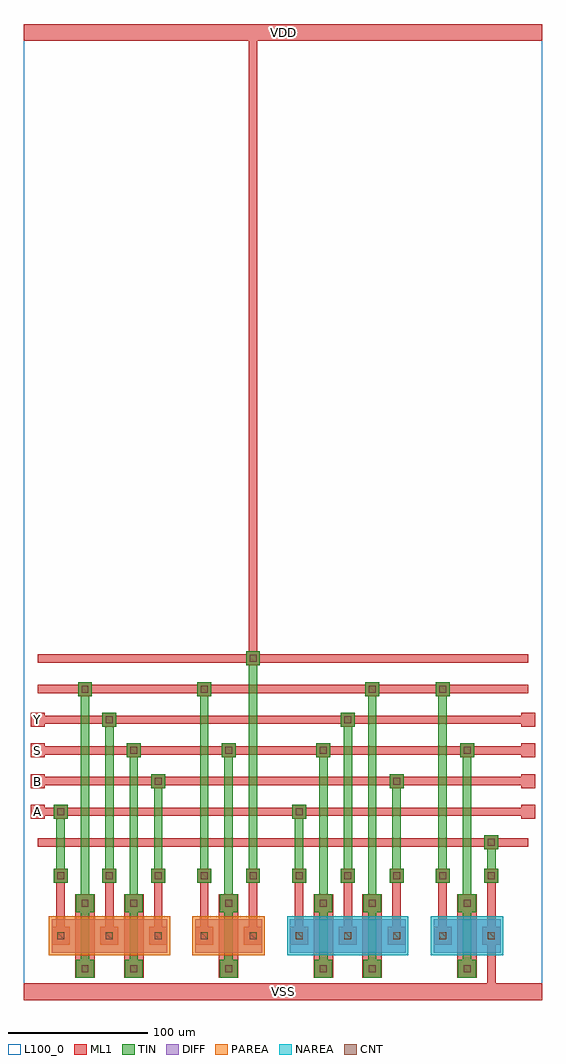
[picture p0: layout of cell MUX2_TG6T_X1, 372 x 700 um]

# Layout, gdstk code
import gdstk
lib = gdstk.Library(unit=1e-6, precision=1e-09)
def R(c, l, rs):  # rectangles x0, y0, x1, y1
    for r in rs: c.add(gdstk.rectangle(r[:2], r[2:], *l))
def A(c, l, x, y, w, h, nx, ny, dx, dy):  # array of equal rectangles
    R(c, l, [(x+i*dx, y+j*dy, x+i*dx+w, y+j*dy+h) for i in range(nx) for j in range(ny)])
DIFF = (3, 0)
TIN = (5, 0)
CNT = (7, 0)
ML1 = (8, 0)
PAREA = (18, 0)
NAREA = (19, 0)
L100_0 = (100, 0)

mux2_tg6t_x1 = lib.new_cell('MUX2_TG6T_X1')
R(mux2_tg6t_x1, DIFF, [(20,34,103,58), (123,34,171,58), (191,34,274,58), (294,34,342,58)])
A(mux2_tg6t_x1, TIN, 72.5, 16, 13, 13, 3, 2, 68, 47)
A(mux2_tg6t_x1, TIN, 76, 28, 6, 37.5, 3, 1, 68, 0)
A(mux2_tg6t_x1, TIN, 76, 69.5, 6, 109.5, 3, 1, 68, 0)
A(mux2_tg6t_x1, TIN, 21.5, 84, 10, 10, 3, 1, 35, 0)
A(mux2_tg6t_x1, TIN, 192.5, 84, 10, 10, 3, 1, 35, 0)
A(mux2_tg6t_x1, TIN, 74, 174, 10, 10, 3, 1, 68, 0)
R(mux2_tg6t_x1, TIN, [(37.5,16,50.5,29), (243.5,16,256.5,29), (311.5,16,324.5,29), (41,28,47,65.5), (247,28,253,65.5), (315,28,321,65.5), (37.5,63,50.5,76), (243.5,63,256.5,76), (311.5,63,324.5,76), (41,69.5,47,223), (247,69.5,253,223), (315,69.5,321,179), (124.5,84,134.5,94), (159.5,84,169.5,94), (295.5,84,305.5,94), (330.5,84,340.5,94), (23.5,89,29.5,135), (58.5,89,64.5,201), (93.5,89,99.5,157), (126.5,89,132.5,223), (161.5,89,167.5,245), (194.5,89,200.5,135), (229.5,89,235.5,201), (264.5,89,270.5,157), (297.5,89,303.5,223), (332.5,89,338.5,113), (330.5,108,340.5,118), (21.5,130,31.5,140), (192.5,130,202.5,140), (91.5,152,101.5,162), (262.5,152,272.5,162), (313,174,323,184), (56.5,196,66.5,206), (227.5,196,237.5,206), (39,218,49,228), (124.5,218,134.5,228), (245,218,255,228), (295.5,218,305.5,228), (159.5,240,169.5,250)])
A(mux2_tg6t_x1, CNT, 76.5, 20, 5, 5, 3, 2, 68, 47)
A(mux2_tg6t_x1, CNT, 24, 43.5, 5, 5, 3, 2, 35, 43)
A(mux2_tg6t_x1, CNT, 195, 43.5, 5, 5, 3, 2, 35, 43)
A(mux2_tg6t_x1, CNT, 76.5, 176.5, 5, 5, 3, 1, 68, 0)
R(mux2_tg6t_x1, CNT, [(41.5,20,46.5,25), (247.5,20,252.5,25), (315.5,20,320.5,25), (127,43.5,132,48.5), (162,43.5,167,48.5), (298,43.5,303,48.5), (333,43.5,338,48.5), (41.5,67,46.5,72), (247.5,67,252.5,72), (315.5,67,320.5,72), (127,86.5,132,91.5), (162,86.5,167,91.5), (298,86.5,303,91.5), (333,86.5,338,91.5), (333,110.5,338,115.5), (24,132.5,29,137.5), (195,132.5,200,137.5), (94,154.5,99,159.5), (265,154.5,270,159.5), (315.5,176.5,320.5,181.5), (59,198.5,64,203.5), (230,198.5,235,203.5), (41.5,220.5,46.5,225.5), (127,220.5,132,225.5), (247.5,220.5,252.5,225.5), (298,220.5,303,225.5), (162,242.5,167,247.5)])
A(mux2_tg6t_x1, ML1, 72, 16, 14, 60, 3, 1, 68, 0)
A(mux2_tg6t_x1, ML1, 72.5, 16, 13, 13, 3, 2, 68, 47)
A(mux2_tg6t_x1, ML1, 20, 39.5, 13, 13, 3, 1, 35, 0)
A(mux2_tg6t_x1, ML1, 191, 39.5, 13, 13, 3, 1, 35, 0)
A(mux2_tg6t_x1, ML1, 23.5, 46, 6, 43, 3, 1, 35, 0)
A(mux2_tg6t_x1, ML1, 194.5, 46, 6, 43, 3, 1, 35, 0)
A(mux2_tg6t_x1, ML1, 21.5, 84, 10, 10, 3, 1, 35, 0)
A(mux2_tg6t_x1, ML1, 192.5, 84, 10, 10, 3, 1, 35, 0)
A(mux2_tg6t_x1, ML1, 10, 110, 352, 6, 1, 7, 0, 22)
A(mux2_tg6t_x1, ML1, 5, 130, 10, 10, 1, 4, 0, 22)
A(mux2_tg6t_x1, ML1, 357, 130, 10, 10, 1, 4, 0, 22)
A(mux2_tg6t_x1, ML1, 74, 174, 10, 10, 3, 1, 68, 0)
R(mux2_tg6t_x1, ML1, [(0,0,372,12), (332.5,3,338.5,92), (37,16,51,76), (37.5,16,50.5,29), (243,16,257,76), (243.5,16,256.5,29), (311,16,325,76), (311.5,16,324.5,29), (123,39.5,136,52.5), (158,39.5,171,52.5), (294,39.5,307,52.5), (329,39.5,342,52.5), (126.5,46,132.5,89), (161.5,46,167.5,89), (297.5,46,303.5,89), (332.5,46,338.5,89), (37.5,63,50.5,76), (243.5,63,256.5,76), (311.5,63,324.5,76), (124.5,84,134.5,94), (159.5,84,169.5,94), (295.5,84,305.5,94), (330.5,84,340.5,94), (330.5,108,340.5,118), (21.5,130,31.5,140), (192.5,130,202.5,140), (91.5,152,101.5,162), (262.5,152,272.5,162), (313,174,323,184), (56.5,196,66.5,206), (227.5,196,237.5,206), (39,218,49,228), (124.5,218,134.5,228), (245,218,255,228), (295.5,218,305.5,228), (159.5,240,169.5,250), (161.5,242,167.5,697), (0,688,372,700)])
R(mux2_tg6t_x1, PAREA, [(18,32,105,60), (121,32,173,60)])
R(mux2_tg6t_x1, NAREA, [(189,32,276,60), (292,32,344,60)])
R(mux2_tg6t_x1, L100_0, [(0,0,372,700)])
mux2_tg6t_x1.add(gdstk.Label('A', (10,135), layer=13, texttype=0))
mux2_tg6t_x1.add(gdstk.Label('B', (10,157), layer=13, texttype=0))
mux2_tg6t_x1.add(gdstk.Label('S', (10,179), layer=13, texttype=0))
mux2_tg6t_x1.add(gdstk.Label('Y', (10,201), layer=13, texttype=0))
mux2_tg6t_x1.add(gdstk.Label('VDD', (186,694), layer=13, texttype=0))
mux2_tg6t_x1.add(gdstk.Label('VSS', (186,6), layer=13, texttype=0))

lib.write_gds('MUX2_TG6T_X1.gds')
